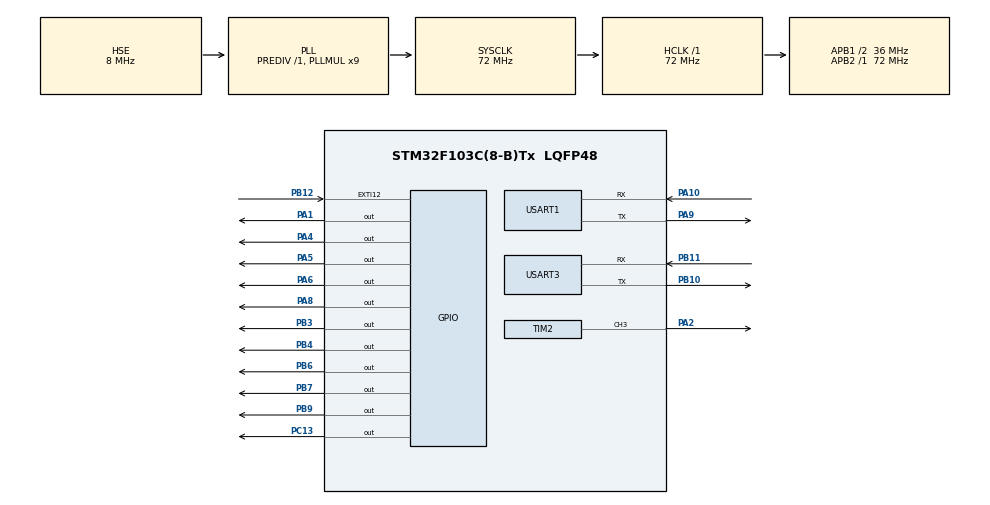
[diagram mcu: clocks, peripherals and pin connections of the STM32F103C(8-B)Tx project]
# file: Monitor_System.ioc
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FREERTOS.INCLUDE_uxTaskGetStackHighWaterMark=1
FREERTOS.Queues01=myQueueMode,1,uint8_t,0,Dynamic,NULL,NULL
FREERTOS.Tasks01=StartDefaultTas,2,128,StartDefault,Default,NULL,Dynamic,NULL,NULL
Mcu.Family=STM32F1
Mcu.Name=STM32F103C(8-B)Tx
Mcu.Package=LQFP48
NVIC.EXTI15_10_IRQn=true\:5\:0\:false\:false\:true\:true\:true\:true\:true
NVIC.PriorityGroup=NVIC_PRIORITYGROUP_4
NVIC.TIM4_IRQn=true\:15\:0\:false\:false\:true\:false\:true\:true\:true
NVIC.TimeBase=TIM4_IRQn
NVIC.TimeBaseIP=TIM4
PA1.GPIO_ModeDefaultOutputPP=GPIO_MODE_OUTPUT_OD
PA1.GPIO_PuPd=GPIO_PULLUP
PA1.Signal=GPIO_Output
PA10.Mode=Asynchronous
PA10.Signal=USART1_RX
PA13.Mode=Serial_Wire
PA13.Signal=SYS_JTMS-SWDIO
PA14.Mode=Serial_Wire
PA14.Signal=SYS_JTCK-SWCLK
PA2.Signal=S_TIM2_CH3
PA4.Signal=GPIO_Output
PA5.Signal=GPIO_Output
PA6.Signal=GPIO_Output
PA8.GPIO_PuPd=GPIO_PULLUP
PA8.PinState=GPIO_PIN_SET
PA8.Signal=GPIO_Output
PA9.Mode=Asynchronous
PA9.Signal=USART1_TX
PB10.Mode=Asynchronous
PB10.Signal=USART3_TX
PB11.Mode=Asynchronous
PB11.Signal=USART3_RX
PB12.GPIO_ModeDefaultEXTI=GPIO_MODE_IT_RISING_FALLING
PB12.GPIO_PuPd=GPIO_PULLUP
PB12.Signal=GPXTI12
PB3.GPIO_ModeDefaultOutputPP=GPIO_MODE_OUTPUT_OD
PB3.GPIO_PuPd=GPIO_NOPULL
PB3.Signal=GPIO_Output
PB4.GPIO_ModeDefaultOutputPP=GPIO_MODE_OUTPUT_OD
PB4.GPIO_PuPd=GPIO_NOPULL
PB4.Signal=GPIO_Output
PB6.GPIO_ModeDefaultOutputPP=GPIO_MODE_OUTPUT_OD
PB6.GPIO_PuPd=GPIO_NOPULL
PB6.Signal=GPIO_Output
PB7.GPIO_ModeDefaultOutputPP=GPIO_MODE_OUTPUT_OD
PB7.GPIO_PuPd=GPIO_NOPULL
PB7.Signal=GPIO_Output
PB9.Signal=GPIO_Output
PC13-TAMPER-RTC.Signal=GPIO_Output
PD0-OSC_IN.Mode=HSE-External-Oscillator
PD0-OSC_IN.Signal=RCC_OSC_IN
PD1-OSC_OUT.Mode=HSE-External-Oscillator
PD1-OSC_OUT.Signal=RCC_OSC_OUT
ProjectManager.HeapSize=0x800
ProjectManager.StackSize=0x800
ProjectManager.TargetToolchain=MDK-ARM V5.32
RCC.ADCPresc=RCC_ADCPCLK2_DIV6
RCC.AHBFreq_Value=72000000
RCC.APB1CLKDivider=RCC_HCLK_DIV2
RCC.APB1Freq_Value=36000000
RCC.APB1TimFreq_Value=72000000
RCC.APB2Freq_Value=72000000
RCC.APB2TimFreq_Value=72000000
RCC.HCLKFreq_Value=72000000
RCC.PLLMUL=RCC_PLL_MUL9
RCC.PLLSourceVirtual=RCC_PLLSOURCE_HSE
RCC.SYSCLKFreq_VALUE=72000000
RCC.SYSCLKSource=RCC_SYSCLKSOURCE_PLLCLK
RCC.USBFreq_Value=72000000
SH.S_TIM2_CH3.0=TIM2_CH3,PWM Generation3 CH3
TIM2.Channel-PWM\ Generation3\ CH3=TIM_CHANNEL_3
TIM2.Period=99
TIM2.Prescaler=71
USART1.VirtualMode=VM_ASYNC
USART3.VirtualMode=VM_ASYNC
VP_FREERTOS_VS_CMSIS_V1.Mode=CMSIS_V1
VP_SYS_VS_tim4.Mode=TIM4
VP_TIM2_VS_ClockSourceINT.Mode=Internal
board=custom

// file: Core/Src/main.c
/* USER CODE BEGIN Header */
/**
  ******************************************************************************
  * @file           : main.c
  * @brief          : Main program body
  ******************************************************************************
  * @attention
  *
  * Copyright (c) 2025 STMicroelectronics.
  * All rights reserved.
  *
  * This software is licensed under terms that can be found in the LICENSE file
  * in the root directory of this software component.
  * If no LICENSE file comes with this software, it is provided AS-IS.
  *
  ******************************************************************************
  */
/* USER CODE END Header */
#include "main.h"
#include "cmsis_os.h"
#include "tim.h"
#include "usart.h"
#include "gpio.h"

void SystemClock_Config(void);
void MX_FREERTOS_Init(void);

int main(void)
{

  /* MCU Configuration--------------------------------------------------------*/

  /* Reset of all peripherals, Initializes the Flash interface and the Systick. */
  HAL_Init();

  /* Configure the system clock */
  SystemClock_Config();

  /* Initialize all configured peripherals */
  MX_GPIO_Init();
  MX_USART1_UART_Init();
  MX_TIM2_Init();
  MX_USART3_UART_Init();

  /* Call init function for freertos objects (in freertos.c) */
  MX_FREERTOS_Init();

  /* Start scheduler */
  osKernelStart();
  /* We should never get here as control is now taken by the scheduler */
  /* Infinite loop */
  while (1)
  {

  }
}

void SystemClock_Config(void)
{
  RCC_OscInitTypeDef RCC_OscInitStruct = {0};
  RCC_ClkInitTypeDef RCC_ClkInitStruct = {0};

  /** Initializes the RCC Oscillators according to the specified parameters
  * in the RCC_OscInitTypeDef structure.
  */
  RCC_OscInitStruct.OscillatorType = RCC_OSCILLATORTYPE_HSE;
  RCC_OscInitStruct.HSEState = RCC_HSE_ON;
  RCC_OscInitStruct.HSEPredivValue = RCC_HSE_PREDIV_DIV1;
  RCC_OscInitStruct.HSIState = RCC_HSI_ON;
  RCC_OscInitStruct.PLL.PLLState = RCC_PLL_ON;
  RCC_OscInitStruct.PLL.PLLSource = RCC_PLLSOURCE_HSE;
  RCC_OscInitStruct.PLL.PLLMUL = RCC_PLL_MUL9;
  if (HAL_RCC_OscConfig(&RCC_OscInitStruct) != HAL_OK)
  {
    Error_Handler();
  }

  /** Initializes the CPU, AHB and APB buses clocks
  */
  RCC_ClkInitStruct.ClockType = RCC_CLOCKTYPE_HCLK|RCC_CLOCKTYPE_SYSCLK
                              |RCC_CLOCKTYPE_PCLK1|RCC_CLOCKTYPE_PCLK2;
  RCC_ClkInitStruct.SYSCLKSource = RCC_SYSCLKSOURCE_PLLCLK;
  RCC_ClkInitStruct.AHBCLKDivider = RCC_SYSCLK_DIV1;
  RCC_ClkInitStruct.APB1CLKDivider = RCC_HCLK_DIV2;
  RCC_ClkInitStruct.APB2CLKDivider = RCC_HCLK_DIV1;

  if (HAL_RCC_ClockConfig(&RCC_ClkInitStruct, FLASH_LATENCY_2) != HAL_OK)
  {
    Error_Handler();
  }
}

void HAL_TIM_PeriodElapsedCallback(TIM_HandleTypeDef *htim)
{
  if (htim->Instance == TIM4) {
    HAL_IncTick();
  }
}

void Error_Handler(void)
{
  __disable_irq();
  while (1)
  {
  }
}

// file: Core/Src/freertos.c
/* USER CODE BEGIN Header */
/**
  ******************************************************************************
  * File Name          : freertos.c
  * Description        : Code for freertos applications
  ******************************************************************************
  * @attention
  *
  * Copyright (c) 2025 STMicroelectronics.
  * All rights reserved.
  *
  * This software is licensed under terms that can be found in the LICENSE file
  * in the root directory of this software component.
  * If no LICENSE file comes with this software, it is provided AS-IS.
  *
  ******************************************************************************
  */
/* USER CODE END Header */

#include "FreeRTOS.h"
#include "task.h"
#include "main.h"
#include "cmsis_os.h"

/* USER CODE BEGIN Includes */
#include "queue.h"
#include "semphr.h"
#include "OLED.h"
#include "DHT11.h"
#include "Delay.h"
#include "BH1750.h"
#include "IR_Receiver.h"
#include "Buzzer.h"
#include "Motor.h"
#include "tim.h"
//#include "Uart.h"
#include "Buffer.h"
#include "esp8266.h"
#include "super_PC.h"
#include "pid.h"

/* USER CODE END Includes */

/* USER CODE BEGIN PD */
/* 获取温度、湿度、光照数据任务的配置 */
#define TASK_GET_SENSOR_DATA_STACK 48
#define TASK_GET_SENSOR_DATA_PRIORITY osPriorityNormal
TaskHandle_t task_get_sensor_data_handle;
void task_get_sensor_data(void *pvParameters);

/* 温度、湿度、光照显示任务的配置 */
#define TASK_OLED_SHOW_STACK 60
#define TASK_OLED_SHOW_PRIORITY osPriorityNormal
TaskHandle_t task_oled_show_handle;
void task_oled_show(void *pvParameters);

/* 阈值设置接收任务的配置 */
#define TASK_THRESHOLDS_STACK 60
#define TASK_THRESHOLDS_PRIORITY osPriorityNormal
TaskHandle_t task_thresholds_handle;
void task_thresholds(void *pvParameters);

/* 自动控制任务的配罿 */
#define TASK_AUTO_CTRL_STACK 80
#define TASK_AUTO_CTRL_PRIORITY osPriorityNormal
TaskHandle_t task_auto_ctrl_handle;
void task_auto_ctrl(void *pvParameters);

/* 数据上传任务的配置 */
#define TASK_ESP8266_STACK 128
#define TASK_ESP8266_PRIORITY osPriorityAboveNormal
TaskHandle_t task_esp8266_handle;
void task_esp8266(void *pvParameters);

#define  SSID     "OPPO_K10_5G"
#define  PASSWD   "19970327"

#define  SERVER_IP    "192.168.113.77"
#define  SERVER_PORT  "8080"

/*队列、互斥量句柄*/
QueueHandle_t data_queuehandle;
QueueHandle_t oled_mutexhandle;
QueueHandle_t esp8266_mutex_handle;

/*温、湿、光的默认阈值*/
#define  Default_Temp_Thresholds   1000
#define  Default_Hum_Thresholds    1000
#define  Default_Light_Thresholds  1000

/********pid 扩展**********/
extern tPid  pid_MotorSpeed;
extern tPid  pid_LED;

/* USER CODE END PD */

/* USER CODE BEGIN Variables */
		typedef struct {
					int Temp;
					int Hum;
					int Light;
		}	Sensor_Data;

		int		temp ,hum ,light;

		Sensor_Data sensor_data_get, sensor_data_show,sensor_data_send;

		int		Thresholds_Val =0 ,Thresholds_Type =0 ;

		int		temp_T = Default_Temp_Thresholds,
					hum_T = Default_Hum_Thresholds,
					light_T = Default_Light_Thresholds ;				//温、湿、光初始阈值
/* USER CODE END Variables */
osThreadId StartDefaultTasHandle;
osMessageQId myQueueModeHandle;

/* USER CODE BEGIN FunctionPrototypes */
////任务相关配置
//	osThreadId get_sensor_dataHandle;
//	void get_sensor_data(void const * argument);

//	osThreadId task_oled_showHandle;
//	void oled_show(void const * argument);
//
//	osThreadId thresholdsHandle;
//	void thresholds(void const * argument);

//	osThreadId temp_thresholdsHandle;
//	void temp_thresholds(void const * argument);

//	osThreadId hum_thresholdsHandle;
//	void hum_thresholds(void const * argument);

//	osThreadId light_thresholdsHandle;
//	void light_thresholds(void const * argument);

//	osThreadId esp8266Handle;
//	void esp8266(void const * argument);

/* USER CODE END FunctionPrototypes */

void StartDefault(void const * argument);

void MX_FREERTOS_Init(void); /* (MISRA C 2004 rule 8.1) */

/* GetIdleTaskMemory prototype (linked to static allocation support) */
void vApplicationGetIdleTaskMemory( StaticTask_t **ppxIdleTaskTCBBuffer, StackType_t **ppxIdleTaskStackBuffer, uint32_t *pulIdleTaskStackSize );

/* USER CODE BEGIN GET_IDLE_TASK_MEMORY */
static StaticTask_t xIdleTaskTCBBuffer;
static StackType_t xIdleStack[configMINIMAL_STACK_SIZE];

void vApplicationGetIdleTaskMemory( StaticTask_t **ppxIdleTaskTCBBuffer, StackType_t **ppxIdleTaskStackBuffer, uint32_t *pulIdleTaskStackSize )
{
  *ppxIdleTaskTCBBuffer = &xIdleTaskTCBBuffer;
  *ppxIdleTaskStackBuffer = &xIdleStack[0];
  *pulIdleTaskStackSize = configMINIMAL_STACK_SIZE;
  /* place for user code */
}
/* USER CODE END GET_IDLE_TASK_MEMORY */

void MX_FREERTOS_Init(void) {
  /* USER CODE BEGIN Init */
	OLED_Init();
	OLED_Clear();
	DHT11_Init();
	IRReceiver_Init();
	BH1750_Init();
	//PID_init();
  /* USER CODE END Init */

  /* USER CODE BEGIN RTOS_MUTEX */
  /* add mutexes, ... */
	oled_mutexhandle = xSemaphoreCreateMutex();	//创建互斥量，用于保护OLED资源
	xSemaphoreGive(oled_mutexhandle);						//释放互斥量

	esp8266_mutex_handle = xSemaphoreCreateMutex();
	xSemaphoreGive (esp8266_mutex_handle);	//释放
  /* USER CODE END RTOS_MUTEX */

  /* Create the queue(s) */
  /* definition and creation of myQueueMode */
  osMessageQDef(myQueueMode, 1, uint8_t);
  myQueueModeHandle = osMessageCreate(osMessageQ(myQueueMode), NULL);

  /* USER CODE BEGIN RTOS_QUEUES */
  /* add queues, ... */
	data_queuehandle = xQueueCreate( 1 , sizeof ( Sensor_Data ));	//创建队列用于温、湿、光数据存储
  /* USER CODE END RTOS_QUEUES */

  /* Create the thread(s) */
  /* definition and creation of StartDefaultTas */
//  osThreadDef(StartDefaultTas, StartDefault, osPriorityHigh, 0, 128);
//  StartDefaultTasHandle = osThreadCreate(osThread(StartDefaultTas), NULL);

  /* USER CODE BEGIN RTOS_THREADS */
  /* add threads, ... */
		xTaskCreate((TaskFunction_t)task_get_sensor_data,
                (char *)"task_get_sensor_data",
                (configSTACK_DEPTH_TYPE)TASK_GET_SENSOR_DATA_STACK,
                (void *)NULL,
                (UBaseType_t)TASK_GET_SENSOR_DATA_PRIORITY,
                (TaskHandle_t *)&task_get_sensor_data_handle);

    xTaskCreate((TaskFunction_t)task_oled_show,
                (char *)"task_oled_show",
                (configSTACK_DEPTH_TYPE)TASK_OLED_SHOW_STACK,
                (void *)NULL,
                (UBaseType_t)TASK_OLED_SHOW_PRIORITY,
                (TaskHandle_t *)&task_oled_show_handle);

    xTaskCreate((TaskFunction_t)task_thresholds,
                (char *)"task_thresholds",
                (configSTACK_DEPTH_TYPE)TASK_THRESHOLDS_STACK,
                (void *)NULL,
                (UBaseType_t)TASK_THRESHOLDS_PRIORITY,
                (TaskHandle_t *)&task_thresholds_handle);

    xTaskCreate((TaskFunction_t)task_auto_ctrl,
                (char *)"task_auto_ctrl",
                (configSTACK_DEPTH_TYPE)TASK_AUTO_CTRL_STACK,
                (void *)NULL,
                (UBaseType_t)TASK_AUTO_CTRL_PRIORITY,
                (TaskHandle_t *)&task_auto_ctrl_handle);

		xTaskCreate((TaskFunction_t)task_esp8266,
                (char *)"task_esp8266",
                (configSTACK_DEPTH_TYPE)TASK_ESP8266_STACK,
                (void *)NULL,
                (UBaseType_t)TASK_ESP8266_PRIORITY,
                (TaskHandle_t *)&task_esp8266_handle);

  /* USER CODE END RTOS_THREADS */

}

void StartDefault(void const * argument)
{
  for(;;)
  {
    osDelay(1);
  }
}

/* USER CODE BEGIN Application */
void task_get_sensor_data(void *argument)
{
	while(1)
	{
		if (DHT11_Read(&hum, &temp) !=0 )		//数据读取失败，重新初始化
		{
			DHT11_Init();
		}
		else																//数据读取成功,发鿁数捿
		{
			sensor_data_get .Hum = hum ;
			sensor_data_get .Temp = temp ;

			xQueueSend ( data_queuehandle, &sensor_data_get ,pdMS_TO_TICKS (100));

		}

		light = BH1750_ReadLight();

		sensor_data_get .Light = light ;

		xQueueSend ( data_queuehandle, &sensor_data_get ,pdMS_TO_TICKS (100) );

		osDelay(1000);	//读取周期1s
	}
}

void task_oled_show(void *pvParameters)
{
	int  T ,H, L;

	while(1)
	{
		if( xQueueReceive( data_queuehandle, &sensor_data_show ,pdMS_TO_TICKS (100) )== pdPASS)
		{
			T = sensor_data_show.Temp ;
			H = sensor_data_show.Hum ;
			L = sensor_data_show.Light;

			/*使用OLED资源前，提高互斥量，判断该资源是否可获取*/
			if(xSemaphoreTake( oled_mutexhandle , pdMS_TO_TICKS (1000)) == pdPASS )
			{

				OLED_ShowString(1, 1, "Temp Hum  Light");
				OLED_ShowChar(2, 8, '%');
				OLED_ShowSignedNum(2,1, T,2);
				OLED_ShowNum(2, 6, H,2);
				OLED_ShowNum(2,12,L,3);

				xSemaphoreGive(oled_mutexhandle);

			}

		}
		osDelay(1000);
	}
}

void task_thresholds(void *pvParameters)
{
		while(1)
		{
				Thresholds_Type = IRReceiver_SetVal (& Thresholds_Val );

				if ( Thresholds_Type != 0 )					//阈值设置完成
				{																		//判断阈值类型

					if ( Thresholds_Type == 1)				//温度阈值
					{
							temp_T = Thresholds_Val ;

							if(xSemaphoreTake( oled_mutexhandle , pdMS_TO_TICKS (1000)) == pdPASS )
							{

								OLED_ShowSignedNum(3,1,temp_T,2);
	//							OLED_ShowString(4,1,"                ");
	//							OLED_ShowString(4,1,"TEMP_T:");
	//							OLED_ShowSignedNum(4,8,temp_T,3);

									xSemaphoreGive(oled_mutexhandle);
							}

					}

					else if ( Thresholds_Type == 2)		//湿度阈值
					{
							hum_T = Thresholds_Val ;

							if(xSemaphoreTake( oled_mutexhandle , pdMS_TO_TICKS (1000)) == pdPASS )
							{

								OLED_ShowNum(3,6,hum_T,2);
								OLED_ShowString(3,8,"%");
	//							OLED_ShowString(4,1,"                ");
	//							OLED_ShowString(4,1,"HUM_T:");
	//							OLED_ShowNum(4,7,hum_T,3);
	//							OLED_ShowString(4,10,"%");

								xSemaphoreGive(oled_mutexhandle);
							}

					}

					else 															//光照阈值 ( Thresholds_Type == 3)
					{
							light_T = Thresholds_Val ;

							if(xSemaphoreTake( oled_mutexhandle , pdMS_TO_TICKS (1000)) == pdPASS )
							{

									OLED_ShowNum(3,12,light_T,3);
		//							OLED_ShowString(4,1,"                ");
		//							OLED_ShowString(4,1,"LIGHT_T:");
		//							OLED_ShowNum(4,9,light_T,3);

									xSemaphoreGive(oled_mutexhandle);
							}
					}

				}

		}
}

void task_auto_ctrl(void *pvParameters)
{
	while(1)
	{
		vTaskDelay(500);

		if(temp_T != Default_Temp_Thresholds)		//温度，非默认阈值
		{
			if( sensor_data_show .Temp  > temp_T )											//温度超过阈值，开启风机
					{
						/********可扩展pid闭环控制*********/
						/*
							int motor_speed = (int)PID_realize(&pid_MotorSpeed,(float)(sensor_data_show .Temp - temp_T));	//通过pid算法调整当前电机速度
							if(motor_speed > 100) motor_speed = 100;
							turn_on_motor(FOREWARD ,motor_speed );
						*/

						turn_on_motor(FOREWARD ,50 );

						if(xSemaphoreTake( oled_mutexhandle , pdMS_TO_TICKS (1000)) == pdPASS )
						{
							OLED_ShowString(4,1,"T_O");
							xSemaphoreGive(oled_mutexhandle);
						}

					}
					else																	//温度低于阈值，关闭风机
					{
						turn_off_motor();

						if(xSemaphoreTake( oled_mutexhandle , pdMS_TO_TICKS (1000)) == pdPASS )
						{
							OLED_ShowString(4,1,"   ");
							xSemaphoreGive(oled_mutexhandle);
						}

					}
		}

			if ( hum_T  != Default_Hum_Thresholds )	//湿度
			{
				if( sensor_data_show.Hum < hum_T )											//湿度低于阈值，开启水泵
					{

						if(xSemaphoreTake( oled_mutexhandle , pdMS_TO_TICKS (1000)) == pdPASS )
						{
							OLED_ShowString(4,6,"H_O");
							xSemaphoreGive(oled_mutexhandle);
						}

					}
				else
					{

						if(xSemaphoreTake( oled_mutexhandle , pdMS_TO_TICKS (1000)) == pdPASS )
						{
							OLED_ShowString(4,6,"   ");
							xSemaphoreGive(oled_mutexhandle);
						}

					}
			}

			if ( light_T != Default_Light_Thresholds )		//光照
			{
				if( sensor_data_show .Light  < light_T )											//光照低于阈值，开启补光灯
					{
						/********可扩展pid闭环控制*********/
						/*
							int LED_light = (int)PID_realize(&pid_LED,(float)(light_T - sensor_data_show .Light)); //通过pid算法调整当前补光灯亮度
						if(LED_light > 100) LED_light = 100;																									//补光灯则需改为pwm驱动
							turn_on_LED(LED_light);
						*/

							HAL_GPIO_WritePin (GPIOB ,GPIO_PIN_9,GPIO_PIN_SET );

						if(xSemaphoreTake( oled_mutexhandle , pdMS_TO_TICKS (1000)) == pdPASS )
						{
							OLED_ShowString(4,12,"L_O");
							xSemaphoreGive(oled_mutexhandle);
						}

					}
				else
					{
							HAL_GPIO_WritePin (GPIOB ,GPIO_PIN_9,GPIO_PIN_RESET );

						if(xSemaphoreTake( oled_mutexhandle , pdMS_TO_TICKS (1000)) == pdPASS )
						{
							OLED_ShowString(4,12,"   ");
							xSemaphoreGive(oled_mutexhandle);
						}

					}
			}

	}
}

void task_esp8266(void *pvParameters)
{
//	OLED_ShowString (4,10,"esp");
	char ack[32];		//用于接收应答
	char Sprintf_cmd[64];	//用于处理格式化命令
	char sensor_data[64];	//存放esp8266发送据

////		if(xSemaphoreTake(esp8266_mutex_handle ,portMAX_DELAY) == pdPASS)
////		{
			esp8266_init();	//初始化
//
//
			memset(Sprintf_cmd,0,sizeof(Sprintf_cmd));
			sprintf(Sprintf_cmd,"AT+CIPSTART=\"TCP\",\"%s\",%s",SERVER_IP ,SERVER_PORT);
			ESP8266_Send_Cmd_GetAck(Sprintf_cmd,ack);			//发送TCP连接指令
			if(NULL != strstr(ack,"ALREADY CONNECTED"))
			{
//				printf("already connected");
			}
			else if(NULL != strstr(ack,"CONNECT"))
			{
//				printf("connect");
			}
			else	//未成功连接则进入五次循环连接
			{
				ESP8266_Connect_TCP(SERVER_IP ,SERVER_PORT);
			}

			ESP8266_Send_Cmd("AT+CIPMODE=0","OK");//非传透模式
			vTaskDelay(pdMS_TO_TICKS(1000));

			while(1)
			{
				if(xQueueReceive( data_queuehandle, &sensor_data_send  ,pdMS_TO_TICKS (100) )== pdPASS)
				{
					memset(sensor_data,0,sizeof(sensor_data));
					sprintf(sensor_data ,"T:%03d,H:%03d,L:%03d",sensor_data_send.Temp ,sensor_data_send.Hum,sensor_data_send.Light );

					uint8_t data_length = strlen(sensor_data);
					sprintf (Sprintf_cmd,"AT+CIPSEND=%d",data_length);
					ESP8266_Send_Cmd (Sprintf_cmd,"OK");				//开启数据传输

					ESP8266_Send_String ((uint8_t *)sensor_data);		//发送数据

//					HAL_UART_Transmit(&huart3,( uint8_t *)"send sensordata\n",strlen(( const  char  *)"send sensordata\n"),1000);//1000
					//按数据帧格式，发送传感器数据，用于匿名上位机获取，生成曲线
					ANO_DT_Send_F2((int16_t)sensor_data_send.Temp ,(int16_t)sensor_data_send.Hum ,(int16_t)sensor_data_send.Light ,(int16_t)0);

				}

				osDelay(pdMS_TO_TICKS(200));

			}

//
//
////			xSemaphoreGive(esp8266_mutex_handle);
////
////		}

}

/* USER CODE END Application */
